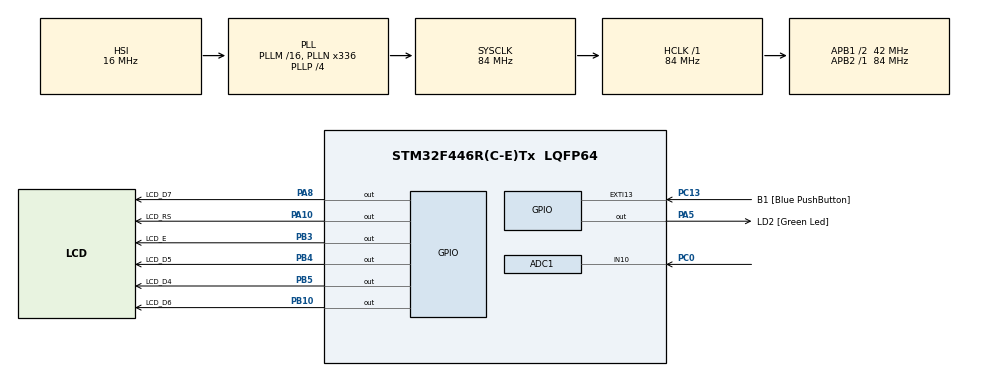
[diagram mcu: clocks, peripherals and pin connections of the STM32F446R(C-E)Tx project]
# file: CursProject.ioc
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ADC1.Channel-0\#ChannelRegularConversion=ADC_CHANNEL_VREFINT
ADC1.Channel-4\#ChannelRegularConversion=ADC_CHANNEL_10
ADC1.InjNumberOfConversion=0
ADC1.NbrOfConversion=2
ADC1.NbrOfConversionFlag=1
ADC1.Rank-0\#ChannelRegularConversion=1
ADC1.Rank-4\#ChannelRegularConversion=2
ADC1.SamplingTime-0\#ChannelRegularConversion=ADC_SAMPLETIME_3CYCLES
ADC1.SamplingTime-4\#ChannelRegularConversion=ADC_SAMPLETIME_3CYCLES
ADC1.master=1
Dma.ADC1.0.Direction=DMA_PERIPH_TO_MEMORY
Dma.ADC1.0.FIFOMode=DMA_FIFOMODE_DISABLE
Dma.ADC1.0.Instance=DMA2_Stream0
Dma.ADC1.0.MemDataAlignment=DMA_MDATAALIGN_HALFWORD
Dma.ADC1.0.MemInc=DMA_MINC_ENABLE
Dma.ADC1.0.Mode=DMA_NORMAL
Dma.ADC1.0.PeriphDataAlignment=DMA_PDATAALIGN_HALFWORD
Dma.ADC1.0.PeriphInc=DMA_PINC_DISABLE
Dma.ADC1.0.Priority=DMA_PRIORITY_LOW
Dma.Request0=ADC1
FREERTOS.INCLUDE_vTaskDelayUntil=1
FREERTOS.Tasks01=defaultTask,0,128,StartDefaultTask,Default,NULL,Dynamic,NULL,NULL
FREERTOS.configTICK_RATE_HZ=1000
FREERTOS.configUSE_PREEMPTION=1
Mcu.Family=STM32F4
Mcu.Name=STM32F446R(C-E)Tx
Mcu.Package=LQFP64
NVIC.ADC_IRQn=true\:5\:0\:false\:false\:true\:true\:true\:true\:true
NVIC.DMA2_Stream0_IRQn=true\:5\:0\:false\:false\:true\:true\:false\:true\:true
NVIC.EXTI15_10_IRQn=true\:5\:0\:false\:false\:true\:true\:true\:true\:true
NVIC.PriorityGroup=NVIC_PRIORITYGROUP_4
NVIC.TIM6_DAC_IRQn=true\:15\:0\:false\:false\:true\:false\:false\:true\:true
NVIC.TimeBase=TIM6_DAC_IRQn
NVIC.TimeBaseIP=TIM6
PA10.GPIO_Label=LCD_RS
PA10.Signal=GPIO_Output
PA13.GPIO_Label=TMS
PA13.Signal=SYS_JTMS-SWDIO
PA14.GPIO_Label=TCK
PA14.Signal=SYS_JTCK-SWCLK
PA2.GPIO_Label=USART_TX
PA2.Signal=USART2_TX
PA3.GPIO_Label=USART_RX
PA3.Signal=USART2_RX
PA5.GPIO_Label=LD2 [Green Led]
PA5.Signal=GPIO_Output
PA8.GPIO_Label=LCD_D7
PA8.Signal=GPIO_Output
PB10.GPIO_Label=LCD_D6
PB10.Signal=GPIO_Output
PB3.GPIO_Label=LCD_E
PB3.Signal=GPIO_Output
PB4.GPIO_Label=LCD_D5
PB4.Signal=GPIO_Output
PB5.GPIO_Label=LCD_D4
PB5.Signal=GPIO_Output
PC0.Signal=ADCx_IN10
PC13.GPIO_Label=B1 [Blue PushButton]
PC13.GPIO_ModeDefaultEXTI=GPIO_MODE_IT_FALLING
PC13.Signal=GPXTI13
PC14-OSC32_IN.Mode=LSE-External-Oscillator
PC14-OSC32_IN.Signal=RCC_OSC32_IN
PC15-OSC32_OUT.Mode=LSE-External-Oscillator
PC15-OSC32_OUT.Signal=RCC_OSC32_OUT
PH0-OSC_IN.Mode=HSE-External-Oscillator
PH0-OSC_IN.Signal=RCC_OSC_IN
PH1-OSC_OUT.Mode=HSE-External-Oscillator
PH1-OSC_OUT.Signal=RCC_OSC_OUT
ProjectManager.HeapSize=0x200
ProjectManager.StackSize=0x400
ProjectManager.TargetToolchain=STM32CubeIDE
RCC.48MHZClocksFreq_Value=84000000
RCC.AHBFreq_Value=84000000
RCC.APB1CLKDivider=RCC_HCLK_DIV2
RCC.APB1Freq_Value=42000000
RCC.APB1TimFreq_Value=84000000
RCC.APB2Freq_Value=84000000
RCC.APB2TimFreq_Value=84000000
RCC.CortexFreq_Value=84000000
RCC.FLatency-AdvancedSettings=FLASH_LATENCY_2
RCC.HCLKFreq_Value=84000000
RCC.HSE_VALUE=8000000
RCC.HSI_VALUE=16000000
RCC.PLLN=336
RCC.PLLP=RCC_PLLP_DIV4
RCC.SYSCLKFreq_VALUE=84000000
RCC.SYSCLKSource=RCC_SYSCLKSOURCE_PLLCLK
RCC.USBFreq_Value=168000000
RCC.VCOOutputFreq_Value=336000000
SH.ADCx_IN10.0=ADC1_IN10,IN10
VP_ADC1_Vref_Input.Mode=IN-Vrefint
VP_FREERTOS_VS_CMSIS_V1.Mode=CMSIS_V1
VP_SYS_VS_tim6.Mode=TIM6
board=NUCLEO-F446RE

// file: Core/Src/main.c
/* USER CODE BEGIN Header */
/**
  ******************************************************************************
  * @file           : main.c
  * @brief          : Main program body
  ******************************************************************************
  * @attention
  *
  * Copyright (c) 2023 STMicroelectronics.
  * All rights reserved.
  *
  * This software is licensed under terms that can be found in the LICENSE file
  * in the root directory of this software component.
  * If no LICENSE file comes with this software, it is provided AS-IS.
  *
  ******************************************************************************
  */
/* USER CODE END Header */
#include "main.h"
#include "cmsis_os.h"

ADC_HandleTypeDef hadc1;
DMA_HandleTypeDef hdma_adc1;

osThreadId defaultTaskHandle;
/* USER CODE BEGIN PV */
lcdMode_t lcdMode = RMS;
buttonPinState_t button_pin	= {GPIO_PIN_SET, GPIO_PIN_SET};
SemaphoreHandle_t buttonMutex;
TaskHandle_t buttonHandle;
TaskHandle_t pollHandle;
uint32_t valueCount = 0;
double value = 0;
uint16_t adcRaw[2];
/* USER CODE END PV */

void SystemClock_Config(void);
static void MX_GPIO_Init(void);
static void MX_DMA_Init(void);
static void MX_ADC1_Init(void);
void StartDefaultTask(void const * argument);

int main(void)
{

  /* MCU Configuration--------------------------------------------------------*/

  /* Reset of all peripherals, Initializes the Flash interface and the Systick. */
  HAL_Init();

  /* Configure the system clock */
  SystemClock_Config();

  /* Initialize all configured peripherals */
  MX_GPIO_Init();
  MX_DMA_Init();
  MX_ADC1_Init();

  /* USER CODE BEGIN RTOS_MUTEX */
  /* add mutexes, ... */
  buttonMutex = xSemaphoreCreateMutex();
  /* USER CODE END RTOS_MUTEX */

  /* Create the thread(s) */
  /* definition and creation of defaultTask */
  osThreadDef(defaultTask, StartDefaultTask, osPriorityNormal, 0, 128);
  defaultTaskHandle = osThreadCreate(osThread(defaultTask), NULL);

  /* USER CODE BEGIN RTOS_THREADS */
  /* add threads, ... */
  xTaskCreate(LCD_Task, "LCD", configMINIMAL_STACK_SIZE, NULL, 2, NULL);
  xTaskCreate(button_Task, "button reaction", configMINIMAL_STACK_SIZE, NULL, 3, &buttonHandle);
  xTaskCreate(poll_Task, "poll", configMINIMAL_STACK_SIZE, NULL, 1, &pollHandle);
  /* USER CODE END RTOS_THREADS */

  /* Start scheduler */
  osKernelStart();

  /* We should never get here as control is now taken by the scheduler */
  /* Infinite loop */
  while (1)
  {

  }
}

void SystemClock_Config(void)
{
  RCC_OscInitTypeDef RCC_OscInitStruct = {0};
  RCC_ClkInitTypeDef RCC_ClkInitStruct = {0};

  /** Configure the main internal regulator output voltage
  */
  __HAL_RCC_PWR_CLK_ENABLE();
  __HAL_PWR_VOLTAGESCALING_CONFIG(PWR_REGULATOR_VOLTAGE_SCALE3);

  /** Initializes the RCC Oscillators according to the specified parameters
  * in the RCC_OscInitTypeDef structure.
  */
  RCC_OscInitStruct.OscillatorType = RCC_OSCILLATORTYPE_HSI;
  RCC_OscInitStruct.HSIState = RCC_HSI_ON;
  RCC_OscInitStruct.HSICalibrationValue = RCC_HSICALIBRATION_DEFAULT;
  RCC_OscInitStruct.PLL.PLLState = RCC_PLL_ON;
  RCC_OscInitStruct.PLL.PLLSource = RCC_PLLSOURCE_HSI;
  RCC_OscInitStruct.PLL.PLLM = 16;
  RCC_OscInitStruct.PLL.PLLN = 336;
  RCC_OscInitStruct.PLL.PLLP = RCC_PLLP_DIV4;
  RCC_OscInitStruct.PLL.PLLQ = 2;
  RCC_OscInitStruct.PLL.PLLR = 2;
  if (HAL_RCC_OscConfig(&RCC_OscInitStruct) != HAL_OK)
  {
    Error_Handler();
  }

  /** Initializes the CPU, AHB and APB buses clocks
  */
  RCC_ClkInitStruct.ClockType = RCC_CLOCKTYPE_HCLK|RCC_CLOCKTYPE_SYSCLK
                              |RCC_CLOCKTYPE_PCLK1|RCC_CLOCKTYPE_PCLK2;
  RCC_ClkInitStruct.SYSCLKSource = RCC_SYSCLKSOURCE_PLLCLK;
  RCC_ClkInitStruct.AHBCLKDivider = RCC_SYSCLK_DIV1;
  RCC_ClkInitStruct.APB1CLKDivider = RCC_HCLK_DIV2;
  RCC_ClkInitStruct.APB2CLKDivider = RCC_HCLK_DIV1;

  if (HAL_RCC_ClockConfig(&RCC_ClkInitStruct, FLASH_LATENCY_2) != HAL_OK)
  {
    Error_Handler();
  }
}

static void MX_ADC1_Init(void)
{

  ADC_ChannelConfTypeDef sConfig = {0};

  /** Configure the global features of the ADC (Clock, Resolution, Data Alignment and number of conversion)
  */
  hadc1.Instance = ADC1;
  hadc1.Init.ClockPrescaler = ADC_CLOCK_SYNC_PCLK_DIV4;
  hadc1.Init.Resolution = ADC_RESOLUTION_12B;
  hadc1.Init.ScanConvMode = ENABLE;
  hadc1.Init.ContinuousConvMode = DISABLE;
  hadc1.Init.DiscontinuousConvMode = DISABLE;
  hadc1.Init.ExternalTrigConvEdge = ADC_EXTERNALTRIGCONVEDGE_NONE;
  hadc1.Init.ExternalTrigConv = ADC_SOFTWARE_START;
  hadc1.Init.DataAlign = ADC_DATAALIGN_RIGHT;
  hadc1.Init.NbrOfConversion = 2;
  hadc1.Init.DMAContinuousRequests = DISABLE;
  hadc1.Init.EOCSelection = ADC_EOC_SINGLE_CONV;
  if (HAL_ADC_Init(&hadc1) != HAL_OK)
  {
    Error_Handler();
  }

  /** Configure for the selected ADC regular channel its corresponding rank in the sequencer and its sample time.
  */
  sConfig.Channel = ADC_CHANNEL_VREFINT;
  sConfig.Rank = 1;
  sConfig.SamplingTime = ADC_SAMPLETIME_3CYCLES;
  if (HAL_ADC_ConfigChannel(&hadc1, &sConfig) != HAL_OK)
  {
    Error_Handler();
  }

  /** Configure for the selected ADC regular channel its corresponding rank in the sequencer and its sample time.
  */
  sConfig.Channel = ADC_CHANNEL_10;
  sConfig.Rank = 2;
  if (HAL_ADC_ConfigChannel(&hadc1, &sConfig) != HAL_OK)
  {
    Error_Handler();
  }

}

static void MX_DMA_Init(void)
{

  /* DMA controller clock enable */
  __HAL_RCC_DMA2_CLK_ENABLE();

  /* DMA interrupt init */
  /* DMA2_Stream0_IRQn interrupt configuration */
  HAL_NVIC_SetPriority(DMA2_Stream0_IRQn, 5, 0);
  HAL_NVIC_EnableIRQ(DMA2_Stream0_IRQn);

}

static void MX_GPIO_Init(void)
{
  GPIO_InitTypeDef GPIO_InitStruct = {0};

  /* GPIO Ports Clock Enable */
  __HAL_RCC_GPIOC_CLK_ENABLE();
  __HAL_RCC_GPIOH_CLK_ENABLE();
  __HAL_RCC_GPIOA_CLK_ENABLE();
  __HAL_RCC_GPIOB_CLK_ENABLE();

  /*Configure GPIO pin Output Level */
  HAL_GPIO_WritePin(GPIOA, LD2_Pin|LCD_D7_Pin|LCD_RS_Pin, GPIO_PIN_RESET);

  /*Configure GPIO pin Output Level */
  HAL_GPIO_WritePin(GPIOB, LCD_D6_Pin|LCD_E_Pin|LCD_D5_Pin|LCD_D4_Pin, GPIO_PIN_RESET);

  /*Configure GPIO pin : B1_Pin */
  GPIO_InitStruct.Pin = B1_Pin;
  GPIO_InitStruct.Mode = GPIO_MODE_IT_FALLING;
  GPIO_InitStruct.Pull = GPIO_NOPULL;
  HAL_GPIO_Init(B1_GPIO_Port, &GPIO_InitStruct);

  /*Configure GPIO pins : USART_TX_Pin USART_RX_Pin */
  GPIO_InitStruct.Pin = USART_TX_Pin|USART_RX_Pin;
  GPIO_InitStruct.Mode = GPIO_MODE_AF_PP;
  GPIO_InitStruct.Pull = GPIO_NOPULL;
  GPIO_InitStruct.Speed = GPIO_SPEED_FREQ_VERY_HIGH;
  GPIO_InitStruct.Alternate = GPIO_AF7_USART2;
  HAL_GPIO_Init(GPIOA, &GPIO_InitStruct);

  /*Configure GPIO pins : LD2_Pin LCD_D7_Pin LCD_RS_Pin */
  GPIO_InitStruct.Pin = LD2_Pin|LCD_D7_Pin|LCD_RS_Pin;
  GPIO_InitStruct.Mode = GPIO_MODE_OUTPUT_PP;
  GPIO_InitStruct.Pull = GPIO_NOPULL;
  GPIO_InitStruct.Speed = GPIO_SPEED_FREQ_LOW;
  HAL_GPIO_Init(GPIOA, &GPIO_InitStruct);

  /*Configure GPIO pins : LCD_D6_Pin LCD_E_Pin LCD_D5_Pin LCD_D4_Pin */
  GPIO_InitStruct.Pin = LCD_D6_Pin|LCD_E_Pin|LCD_D5_Pin|LCD_D4_Pin;
  GPIO_InitStruct.Mode = GPIO_MODE_OUTPUT_PP;
  GPIO_InitStruct.Pull = GPIO_NOPULL;
  GPIO_InitStruct.Speed = GPIO_SPEED_FREQ_LOW;
  HAL_GPIO_Init(GPIOB, &GPIO_InitStruct);

  /* EXTI interrupt init*/
  HAL_NVIC_SetPriority(EXTI15_10_IRQn, 5, 0);
  HAL_NVIC_EnableIRQ(EXTI15_10_IRQn);

}

/* USER CODE BEGIN 4 */
void poll_Task() {
    LCD_Init();
    setDescription();
    for(;;) {
    	vTaskDelay(10000);
    	double output;
    	if(lcdMode == RMS) output = sqrt(value/valueCount);
    	else if(lcdMode == ampl) output = value;
    	else output = value/valueCount;
    	value = 0;
    	valueCount = 0;
    	setDouble(output);
    }
    vTaskDelete(NULL);
}
void LCD_Task() {
	for(;;) {
		vTaskSuspend(NULL);
		button_pin.previous_state = HAL_GPIO_ReadPin(B1_GPIO_Port, B1_Pin);
		vTaskDelay(300);
		button_pin.current_state = HAL_GPIO_ReadPin(B1_GPIO_Port, B1_Pin);
		LCD_Clear();
		if(button_pin.current_state == GPIO_PIN_RESET && button_pin.previous_state == button_pin.current_state) {
			if(lcdMode == RMS) lcdMode = ampl;
			else if(lcdMode == ampl) lcdMode = ARV;
			else lcdMode = RMS;
			setDescription();
			value = 0;
			valueCount = 0;
		}
		button_pin.previous_state = GPIO_PIN_SET;
		button_pin.current_state = GPIO_PIN_SET;
		xSemaphoreGive(buttonMutex);
	}
	vTaskDelete(NULL);
}
void button_Task() {
	for(;;) {
		HAL_ADC_Start_DMA(&hadc1, (uint32_t*) adcRaw, 2);
		vTaskSuspend(NULL);
		double I = 1.21  / adcRaw[0] * adcRaw[1] / 9200.0;
		if(lcdMode == RMS) {
			value += I * I;
			valueCount++;
		} else if(lcdMode == ampl){
			if(value < I) value = I;
		} else {
			value += I;
			valueCount++;
		}
	    TickType_t xLastWakeTime;
	    xLastWakeTime = xTaskGetTickCount();
	    vTaskDelayUntil(&xLastWakeTime, 1);
	}
	vTaskDelete(NULL);
}
void setDescription() {
	LCD_Clear();
	LCD_SetCursor(1);
	if(lcdMode == RMS) {
		uint8_t array[] = {0x43, 0x4B, 0x33};
		LCD_PrintString(array, 3);
	} else if(lcdMode == ampl) {
		uint8_t array[] = {0x41, 0xBC, 0xBE, 0xBB};
		LCD_PrintString(array, 4);
	} else {
		uint8_t array[] = {0x43, 0x42, 0x33};
		LCD_PrintString(array, 3);
	}
	LCD_SetCursor(7);
	uint8_t array[5] = {0x49, 0x3D};
	LCD_PrintString(array, 2);
}
void setDouble(double outputValue)  {
	LCD_SetCursor(9);
	LCD_PrintDouble(outputValue);
}
/* USER CODE END 4 */

void StartDefaultTask(void const * argument)
{
  for(;;)
  {
    osDelay(1);
  }
}

void HAL_TIM_PeriodElapsedCallback(TIM_HandleTypeDef *htim)
{
  if (htim->Instance == TIM6) {
    HAL_IncTick();
  }
}

void Error_Handler(void)
{
  __disable_irq();
  while (1)
  {
  }
}
